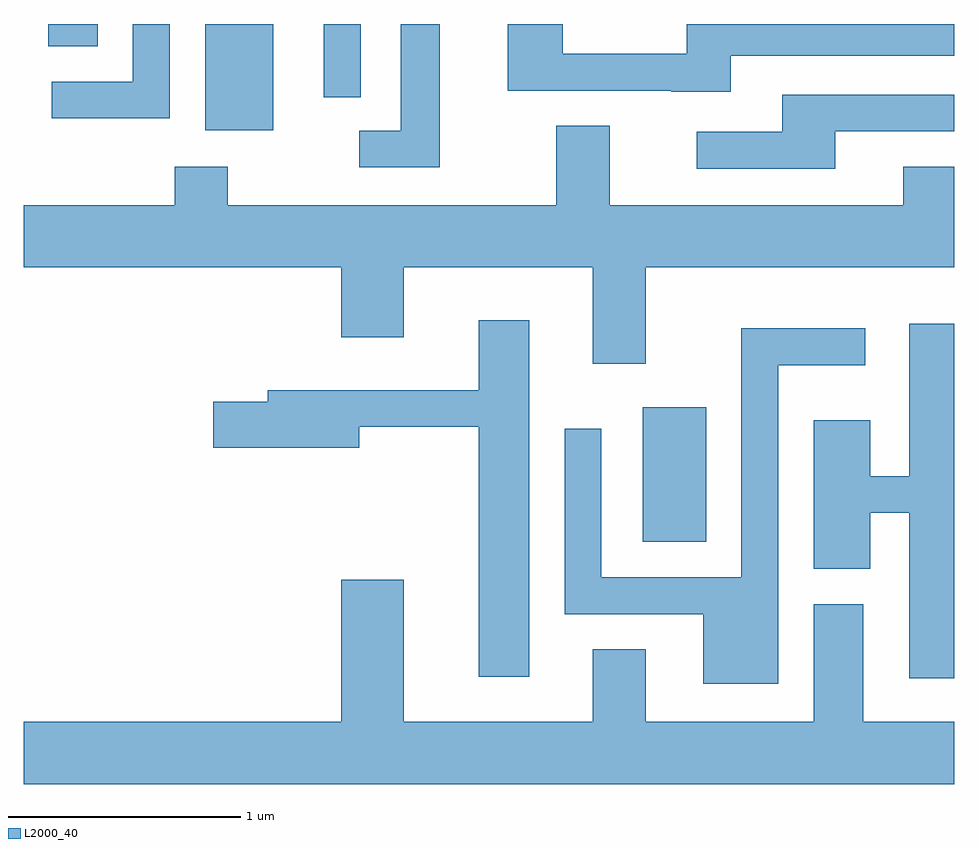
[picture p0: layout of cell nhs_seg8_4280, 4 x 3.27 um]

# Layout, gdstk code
import gdstk
lib = gdstk.Library(unit=1e-6, precision=1e-09)
def R(c, l, rs):  # rectangles x0, y0, x1, y1
    for r in rs: c.add(gdstk.rectangle(r[:2], r[2:], *l))
def P(c, l, *ps):  # polygons
    for p in ps: c.add(gdstk.Polygon(p, *l))
L2000_40 = (2000, 40)

nhs_seg8_4280 = lib.new_cell('nhs_seg8_4280')
R(nhs_seg8_4280, L2000_40, [(316.271,1844.116,316.544,1844.694), (314.391,1845.886,314.684,1846.342), (314.901,1846.028,315.059,1846.342), (313.716,1846.246,313.929,1846.342)])
P(nhs_seg8_4280, L2000_40, [(314.239,1846.342),(314.081,1846.342),(314.081,1846.094),(313.733,1846.094),(313.733,1845.936),(314.239,1845.936)],
  [(316.649,1846.206),(317.611,1846.206),(317.611,1846.342),(316.461,1846.342),(316.461,1846.214),(315.929,1846.214),(315.929,1846.342),(315.691,1846.342),(315.691,1846.056),(316.395,1846.056),(316.395,1846.051),(316.649,1846.051)],
  [(315.399,1846.342),(315.231,1846.342),(315.231,1845.884),(315.053,1845.884),(315.053,1845.726),(315.399,1845.726)],
  [(317.099,1845.881),(317.611,1845.881),(317.611,1846.039),(316.871,1846.039),(316.871,1845.879),(316.503,1845.879),(316.503,1845.721),(317.099,1845.721)],
  [(316.284,1845.296),(317.611,1845.296),(317.611,1845.729),(317.391,1845.729),(317.391,1845.564),(316.129,1845.564),(316.129,1845.904),(315.901,1845.904),(315.901,1845.564),(314.489,1845.564),(314.489,1845.729),(314.261,1845.729),(314.261,1845.564),(313.611,1845.564),(313.611,1845.296),(314.976,1845.296),(314.976,1844.996),(315.244,1844.996),(315.244,1845.296),(316.056,1845.296),(316.056,1844.881),(316.284,1844.881)],
  [(315.784,1845.069),(315.566,1845.069),(315.566,1844.769),(314.661,1844.769),(314.661,1844.719),(314.426,1844.719),(314.426,1844.521),(315.054,1844.521),(315.054,1844.611),(315.566,1844.611),(315.566,1843.536),(315.784,1843.536)],
  [(317.611,1845.054),(317.416,1845.054),(317.416,1844.399),(317.249,1844.399),(317.249,1844.639),(317.006,1844.639),(317.006,1844.001),(317.249,1844.001),(317.249,1844.241),(317.416,1844.241),(317.416,1843.531),(317.611,1843.531)],
  [(316.854,1844.876),(317.228,1844.876),(317.228,1845.034),(316.696,1845.034),(316.696,1843.964),(316.094,1843.964),(316.094,1844.603),(315.936,1844.603),(315.936,1843.806),(316.531,1843.806),(316.531,1843.506),(316.854,1843.506)],
  [(317.611,1843.344),(317.219,1843.344),(317.219,1843.849),(317.006,1843.849),(317.006,1843.344),(316.284,1843.344),(316.284,1843.654),(316.056,1843.654),(316.056,1843.344),(315.244,1843.344),(315.244,1843.954),(314.976,1843.954),(314.976,1843.344),(313.611,1843.344),(313.611,1843.076),(317.611,1843.076)])

lib.write_gds('nhs_seg8_4280.gds')
